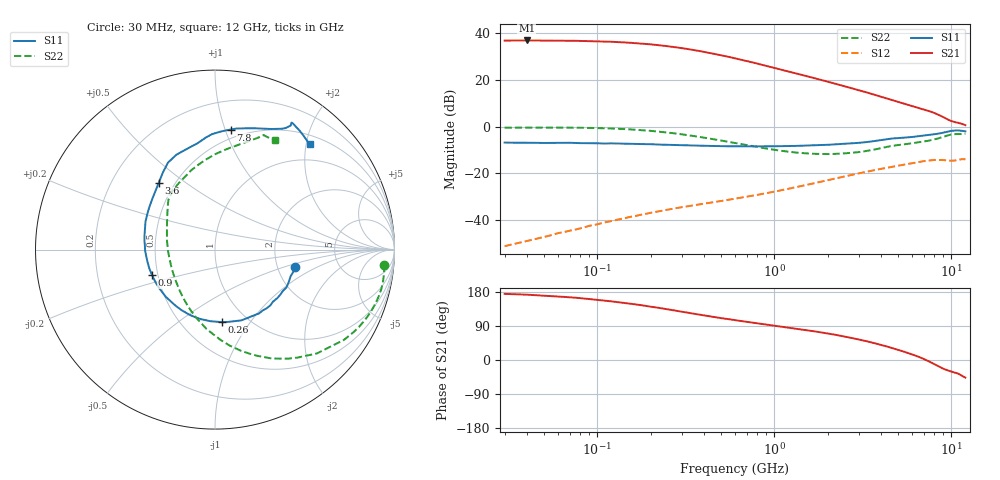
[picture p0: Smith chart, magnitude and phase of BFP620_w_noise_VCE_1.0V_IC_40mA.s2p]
! Infineon Technologies  Discrete & RF Semiconductors
! BFP620
! VCE =  1.0 V,  IC =  40 mA
! Common Emitter S-Parameters:  Nov 2015
# GHz  S  MA  R  50
!  f  S11  S21  S12  S22
! GHz  MAG  ANG  MAG  ANG  MAG  ANG  MAG  ANG
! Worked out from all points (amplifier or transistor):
!   239 points, 30 MHz to 12 GHz, reference 50 ohm
!   highest |S21| = 36.8 dB at 40 MHz (marker M1)
!   |S21| within 3 dB of that: start of sweep to 283.3 MHz
!   unconditionally stable (mu >= 1): 2.189 GHz to end of sweep
!   at 300 MHz: K = 0.43, MSG = 34.0 dB, |S12| = -34.4 dB
!   at 1.88 GHz: K = 0.98, MSG = 21.5 dB, |S12| = -23.4 dB
!   at 12 GHz: K = 1.08, MAG = 5.5 dB, |S12| = -14.0 dB
!   lowest NFmin = 1.33 dB at 450 MHz
!   S11 on the Smith chart (normalised r, x): 30 MHz: 2.49, -0.61; 260 MHz: 0.77, -0.74; 900 MHz: 0.46, -0.15; 3.6 GHz: 0.41, +0.40; 7.8 GHz: 0.43, +1.05; 12 GHz: 0.66, +2.07
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0.03  0.455 -12.3  68.51 174.5  0.0028 92.7  0.9457 -5.2
0.04  0.4526 -16.4  68.82 172.4  0.0036 89.2  0.951 -7.8
0.07  0.4505 -27.9  68.09 165.6  0.006 82.5  0.9486 -15.9
0.085  0.4422 -33.1  67.01 162.1  0.0071 80.1  0.94 -19.7
0.12  0.438 -45.3  64.6 154.8  0.0096 76.5  0.91 -28.3
0.145  0.4313 -53.6  62.26 150.1  0.0112 73.7  0.8813 -34.1
0.2  0.4209 -69.5  56.89 140.7  0.0144 68.8  0.8109 -45.5
0.24  0.4094 -79.8  52.81 135.0  0.0164 66.2  0.7574 -52.6
0.26  0.4057 -84.6  50.9 132.4  0.0173 65.2  0.7327 -56.0
0.3  0.3999 -93.7  47.23 127.4  0.019 63.6  0.6847 -62.4
0.36  0.3935 -105.0  42.29 121.3  0.0212 61.6  0.6194 -70.6
0.45  0.3855 -118.9  36.07 113.9  0.0243 60.0  0.5396 -81.5
0.6  0.3799 -136.1  28.59 105.0  0.0289 58.9  0.4453 -96.0
0.7  0.3779 -144.8  24.94 100.5  0.0318 58.7  0.3998 -104.1
0.9  0.3783 -158.1  19.77 93.5  0.0377 58.4  0.3394 -118.2
1.2  0.3836 -172.2  15.03 85.6  0.047 57.5  0.2901 -135.5
1.64  0.396 173.0  11.08 76.4  0.0605 54.9  0.2626 -156.1
2.4  0.4241 153.4  7.525 63.3  0.0833 48.4  0.2651 176.0
3.6  0.4851 130.3  4.903 45.5  0.1157 35.7  0.3185 146.9
4.5  0.551 118.4  3.8 33.1  0.1357 26.4  0.3802 133.1
7.8  0.6749 82.4  2.024 -8.1  0.1919 -8.7  0.5189 92.4
12  0.7889 48.1  1.07 -46.5  0.2004 -42.9  0.6968 61.5
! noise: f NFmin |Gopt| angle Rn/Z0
0.45  1.33  0.22  -164  0.1
0.9  1.34  0.26  -152  0.1
1.9  1.35  0.29  -138  0.11
2.4  1.37  0.29  -136  0.12
3.5  1.41  0.36  -103  0.2
5.5  1.7  0.39  -84  0.26
10  2.02  0.64  -44  1.05
